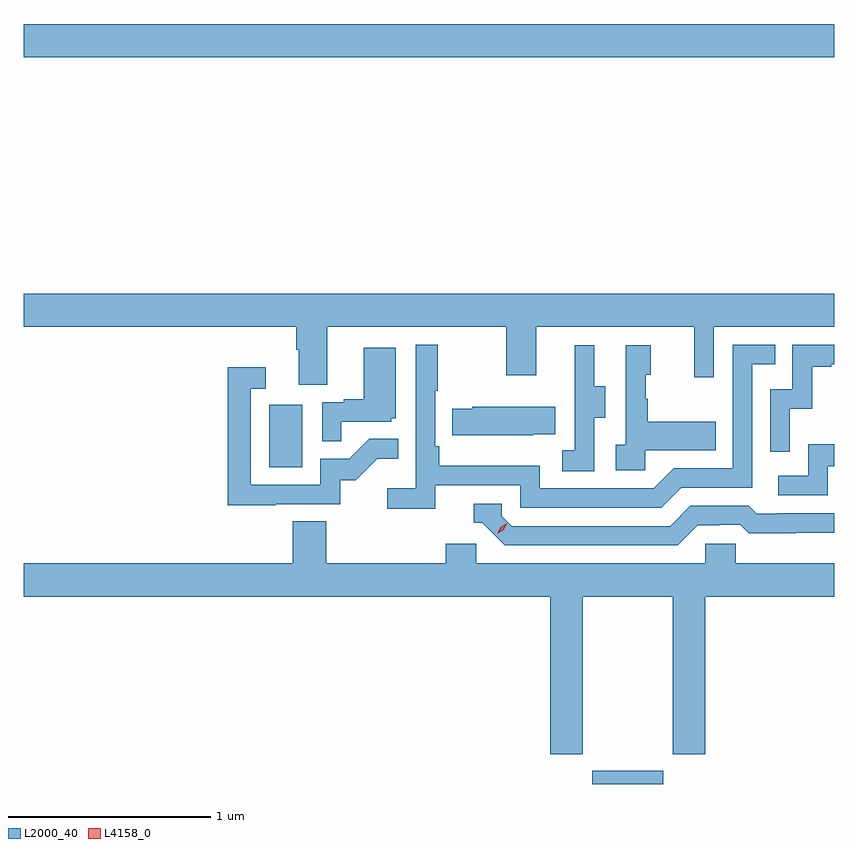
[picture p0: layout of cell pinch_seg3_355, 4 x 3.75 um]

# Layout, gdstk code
import gdstk
lib = gdstk.Library(unit=1e-6, precision=1e-09)
def R(c, l, rs):  # rectangles x0, y0, x1, y1
    for r in rs: c.add(gdstk.rectangle(r[:2], r[2:], *l))
def P(c, l, *ps):  # polygons
    for p in ps: c.add(gdstk.Polygon(p, *l))
L2000_40 = (2000, 40)
L4158_0 = (4158, 0)

pinch_seg3_355 = lib.new_cell('pinch_seg3_355')
R(pinch_seg3_355, L2000_40, [(966.782,691.999,967.132,692.065), (965.186,693.564,965.35,693.871), (963.976,695.588,967.976,695.752)])
P(pinch_seg3_355, L2000_40, [(965.473,694.256),(966.358,694.256),(966.358,694.017),(966.505,694.017),(966.505,694.256),(967.286,694.256),(967.286,694.008),(967.383,694.008),(967.383,694.256),(967.976,694.256),(967.976,694.42),(963.976,694.42),(963.976,694.256),(965.321,694.256),(965.321,694.144),(965.333,694.144),(965.333,693.97),(965.473,693.97)],
  [(966.008,693.474),(966.426,693.474),(966.426,693.363),(967.123,693.363),(967.222,693.462),(967.572,693.462),(967.572,694.071),(967.685,694.071),(967.685,694.167),(967.476,694.167),(967.476,693.558),(967.185,693.558),(967.086,693.459),(966.522,693.459),(966.522,693.571),(966.026,693.571),(966.026,693.667),(966.006,693.667),(966.006,693.94),(966.019,693.94),(966.019,694.168),(965.91,694.168),(965.91,693.46),(965.769,693.46),(965.769,693.358),(966.008,693.358)],
  [(967.758,693.851),(967.868,693.851),(967.868,694.059),(967.963,694.059),(967.963,694.071),(967.976,694.071),(967.976,694.167),(967.77,694.167),(967.77,693.948),(967.662,693.948),(967.662,693.639),(967.758,693.639)],
  [(966.792,693.808),(966.847,693.808),(966.847,693.963),(966.793,693.963),(966.793,694.165),(966.695,694.165),(966.695,693.951),(966.696,693.951),(966.696,693.647),(966.633,693.647),(966.633,693.544),(966.792,693.544)],
  [(967.044,693.647),(967.391,693.647),(967.391,693.787),(967.057,693.787),(967.057,693.902),(967.047,693.902),(967.047,694.02),(967.072,694.02),(967.072,694.165),(966.948,694.165),(966.948,693.674),(966.897,693.674),(966.897,693.549),(967.044,693.549)],
  [(965.543,693.789),(965.79,693.789),(965.79,693.804),(965.812,693.804),(965.812,694.153),(965.654,694.153),(965.654,693.898),(965.555,693.898),(965.555,693.885),(965.448,693.885),(965.448,693.691),(965.543,693.691)],
  [(965.219,693.381),(965.538,693.381),(965.538,693.498),(965.614,693.498),(965.721,693.605),(965.825,693.605),(965.825,693.704),(965.681,693.704),(965.583,693.606),(965.439,693.606),(965.439,693.477),(965.097,693.477),(965.097,693.951),(965.17,693.951),(965.17,694.057),(964.981,694.057),(964.981,693.376),(965.219,693.376)],
  [(966.491,693.725),(966.599,693.725),(966.599,693.862),(966.189,693.862),(966.189,693.852),(966.091,693.852),(966.091,693.722),(966.491,693.722)],
  [(967.944,693.567),(967.976,693.567),(967.976,693.676),(967.848,693.676),(967.848,693.522),(967.701,693.522),(967.701,693.426),(967.944,693.426)],
  [(967.303,693.276),(967.41,693.276),(967.41,693.279),(967.513,693.279),(967.555,693.237),(967.788,693.237),(967.788,693.239),(967.976,693.239),(967.976,693.336),(967.693,693.336),(967.693,693.333),(967.594,693.333),(967.555,693.372),(967.266,693.372),(967.167,693.273),(966.384,693.273),(966.336,693.321),(966.336,693.384),(966.197,693.384),(966.197,693.288),(966.24,693.288),(966.351,693.177),(967.204,693.177)],
  [(966.735,692.924),(967.18,692.924),(967.18,692.145),(967.34,692.145),(967.34,692.924),(967.976,692.924),(967.976,693.088),(967.491,693.088),(967.491,693.186),(967.341,693.186),(967.341,693.088),(966.21,693.088),(966.21,693.186),(966.059,693.186),(966.059,693.088),(965.468,693.088),(965.468,693.296),(965.303,693.296),(965.303,693.088),(963.976,693.088),(963.976,692.924),(966.575,692.924),(966.575,692.145),(966.735,692.145)])
P(pinch_seg3_355, L4158_0, [(966.313,693.234),(966.313,693.234),(966.33,693.267),(966.361,693.287),(966.361,693.287),(966.361,693.286),(966.345,693.254),(966.314,693.234)])

lib.write_gds('pinch_seg3_355.gds')
